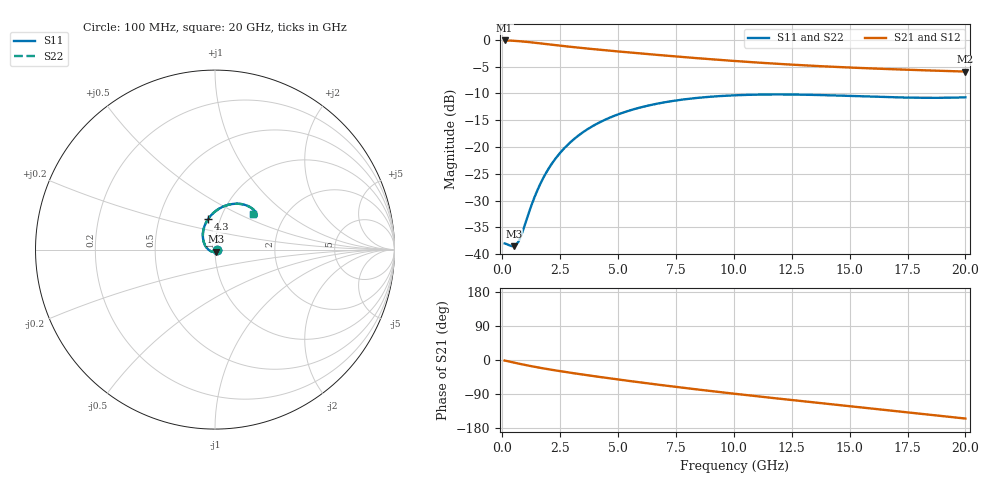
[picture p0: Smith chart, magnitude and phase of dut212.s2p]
! Created with skrf 1.9.0 (http://scikit-rf.org).
# GHz S RI R 50.0
!freq ReS11 ImS11 ReS21 ImS21 ReS12 ImS12 ReS22 ImS22
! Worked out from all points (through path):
!   200 points, 100 MHz to 20 GHz, reference 50 ohm
!   highest |S21| = -0.11 dB at 100 MHz (marker M1); lowest = -5.9 dB at 20 GHz (marker M2)
!   group delay of S21, straight-line fit = 20.3 ps
!   lowest |S11| = -38.5 dB at 500 MHz (marker M3), VSWR 1.02, Z = 50.5 - j1.1 ohm
!   |S11| at or under -10 dB: start of sweep to end of sweep
!   |S22| runs from -38.5 to -10.2 dB; largest |S21 - S12| = 2.5e-15
!   S11 on the Smith chart (normalised r, x): 100 MHz: 1.02, -0.01; 4.3 GHz: 0.88, +0.31; 20 GHz: 1.38, +0.60
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0.1  0.0123 -0.0026  0.9868 -0.0238  0.9868 -0.0238  0.0123 -0.0026
0.5  0.00468 -0.0109  0.9726 -0.1167  0.9726 -0.1167  0.00468 -0.0109
0.6  0.00135 -0.0121  0.9666 -0.1388  0.9666 -0.1388  0.00135 -0.0121
0.7  -0.00243 -0.0129  0.9596 -0.1602  0.9596 -0.1602  -0.00243 -0.0129
0.8  -0.00657 -0.0131  0.9519 -0.181  0.9519 -0.181  -0.00657 -0.0131
1.4  -0.0343 -0.00195  0.8938 -0.2907  0.8938 -0.2907  -0.0343 -0.00195
1.7  -0.0467 0.0108  0.8604 -0.3362  0.8604 -0.3362  -0.0467 0.0108
2  -0.0567 0.0269  0.826 -0.3764  0.826 -0.3764  -0.0567 0.0269
2.3  -0.0635 0.0453  0.7913 -0.4121  0.7913 -0.4121  -0.0635 0.0453
2.7  -0.0676 0.0716  0.745 -0.4539  0.745 -0.4539  -0.0676 0.0716
3.1  -0.0665 0.0982  0.6992 -0.4903  0.6992 -0.4903  -0.0665 0.0982
3.5  -0.0607 0.1239  0.6538 -0.5222  0.6538 -0.5222  -0.0607 0.1239
4.3  -0.0388 0.1694  0.564 -0.5744  0.564 -0.5744  -0.0388 0.1694
5.4  0.0047 0.2156  0.4433 -0.6243  0.4433 -0.6243  0.0047 0.2156
6.8  0.0667 0.2475  0.2971 -0.6564  0.2971 -0.6564  0.0667 0.2475
8.3  0.1271 0.2555  0.1542 -0.6597  0.1542 -0.6597  0.1271 0.2555
10.1  0.1816 0.2438  0.00498 -0.6332  0.00498 -0.6332  0.1816 0.2438
11.7  0.2121 0.2249  -0.1079 -0.591  -0.1079 -0.591  0.2121 0.2249
13.4  0.228 0.2048  -0.21 -0.5329  -0.21 -0.5329  0.228 0.2048
16.7  0.2265 0.184  -0.3628 -0.3908  -0.3628 -0.3908  0.2265 0.184
18.4  0.2183 0.1873  -0.419 -0.3048  -0.419 -0.3048  0.2183 0.1873
20  0.2116 0.1992  -0.4566 -0.2174  -0.4566 -0.2174  0.2116 0.1992
